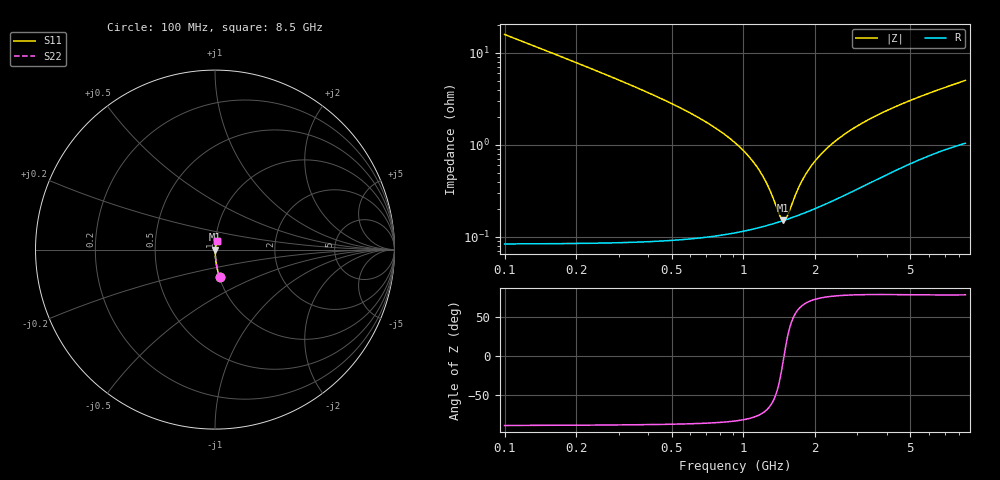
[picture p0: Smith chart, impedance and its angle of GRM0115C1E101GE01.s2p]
!Murata Part Number: GRM0115C1E101GE01
!These Parameters are Measured in Series Mode Connection
!Data Generated on Mar 30, 2021
!  o--ll--o
!Port1  Port2
!  o------o
!Operation Temp=25[degC], DC Bias Voltage=0[V]
!Freq. Start=100[MHz] Stop=9[GHz] 401[Steps]
# Hz S RI R 50
!Freq.(Hz) S11(Real) S11(Imag) S21(Real) S21(Imag) S12(Real) S12(Imag) S22(Real) S22(Imag)
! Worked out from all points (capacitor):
!   401 points, 100 MHz to 8.5 GHz, reference 50 ohm
!   read as one part in series: C = 100 pF near 142 MHz
!   lowest |Z| = 152 mohm at 1.465 GHz (marker M1)
!   series resonance near 1.48 GHz, so ESL is about 120 pH
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1e8  0.0253 -0.1543  0.9747 0.1543  0.9747 0.1543  0.0253 -0.1543
2.26e8  0.00555 -0.0683  0.9945 0.0683  0.9945 0.0683  0.00555 -0.0683
3.31e8  0.00295 -0.0455  0.9971 0.0455  0.9971 0.0455  0.00295 -0.0455
4.99e8  0.00171 -0.0282  0.9983 0.0282  0.9983 0.0282  0.00171 -0.0282
9.19e8  0.00122 -0.0106  0.9988 0.0106  0.9988 0.0106  0.00122 -0.0106
1.087e9  0.00125 -0.00668  0.9987 0.00668  0.9987 0.00668  0.00125 -0.00668
1.234e9  0.00133 -0.00389  0.9987 0.00389  0.9987 0.00389  0.00133 -0.00389
1.423e9  0.00147 -0.000833  0.9985 0.000833  0.9985 0.000833  0.00147 -0.000833
1.465e9  0.0015 -0.000216  0.9985 0.000216  0.9985 0.000216  0.0015 -0.000216
1.507e9  0.00154 0.000382  0.9985 -0.000382  0.9985 -0.000382  0.00154 0.000382
1.675e9  0.0017 0.00262  0.9983 -0.00262  0.9983 -0.00262  0.0017 0.00262
1.738e9  0.00177 0.0034  0.9982 -0.0034  0.9982 -0.0034  0.00177 0.0034
1.843e9  0.00188 0.00465  0.9981 -0.00465  0.9981 -0.00465  0.00188 0.00465
1.99e9  0.00206 0.00629  0.9979 -0.00629  0.9979 -0.00629  0.00206 0.00629
2.158e9  0.00228 0.00806  0.9977 -0.00806  0.9977 -0.00806  0.00228 0.00806
2.368e9  0.00257 0.0101  0.9974 -0.0101  0.9974 -0.0101  0.00257 0.0101
2.914e9  0.0034 0.0149  0.9966 -0.0149  0.9966 -0.0149  0.0034 0.0149
3.523e9  0.00443 0.0196  0.9956 -0.0196  0.9956 -0.0196  0.00443 0.0196
4.3e9  0.00582 0.025  0.9942 -0.025  0.9942 -0.025  0.00582 0.025
5.707e9  0.00832 0.0335  0.9917 -0.0335  0.9917 -0.0335  0.00832 0.0335
7.114e9  0.0106 0.0411  0.9894 -0.0411  0.9894 -0.0411  0.0106 0.0411
8.5e9  0.0126 0.048  0.9874 -0.048  0.9874 -0.048  0.0126 0.048
